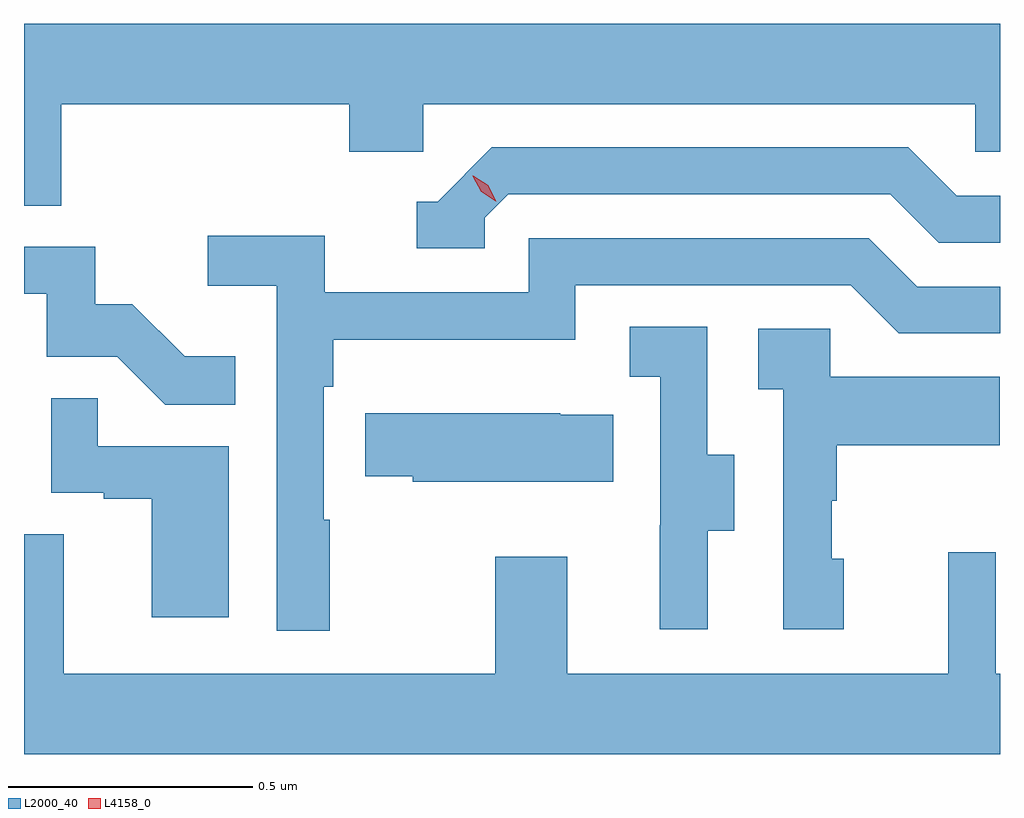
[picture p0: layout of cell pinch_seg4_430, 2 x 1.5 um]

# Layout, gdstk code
import gdstk
lib = gdstk.Library(unit=1e-6, precision=1e-09)
def P(c, l, *ps):  # polygons
    for p in ps: c.add(gdstk.Polygon(p, *l))
L2000_40 = (2000, 40)
L4158_0 = (4158, 0)

pinch_seg4_430 = lib.new_cell('pinch_seg4_430')
P(pinch_seg4_430, L2000_40, [(921.068,786.164),(921.659,786.164),(921.659,786.066),(921.81,786.066),(921.81,786.164),(922.941,786.164),(922.941,786.066),(922.992,786.066),(922.992,786.328),(920.992,786.328),(920.992,785.956),(921.068,785.956)],
  [(921.936,785.931),(921.984,785.979),(922.767,785.979),(922.866,785.88),(922.992,785.88),(922.992,785.976),(922.903,785.976),(922.804,786.075),(921.951,786.075),(921.84,785.964),(921.797,785.964),(921.797,785.868),(921.936,785.868)],
  [(921.619,785.312),(921.606,785.312),(921.606,785.585),(921.626,785.585),(921.626,785.681),(922.122,785.681),(922.122,785.793),(922.686,785.793),(922.785,785.694),(922.992,785.694),(922.992,785.79),(922.822,785.79),(922.723,785.889),(922.026,785.889),(922.026,785.778),(921.608,785.778),(921.608,785.894),(921.369,785.894),(921.369,785.792),(921.51,785.792),(921.51,785.085),(921.619,785.085)],
  [(921.425,785.647),(921.321,785.647),(921.214,785.754),(921.138,785.754),(921.138,785.871),(920.992,785.871),(920.992,785.775),(921.039,785.775),(921.039,785.646),(921.183,785.646),(921.281,785.548),(921.425,785.548)],
  [(922.393,785.29),(922.447,785.29),(922.447,785.445),(922.392,785.445),(922.392,785.708),(922.233,785.708),(922.233,785.605),(922.296,785.605),(922.296,785.301),(922.295,785.301),(922.295,785.088),(922.393,785.088)],
  [(922.672,785.232),(922.647,785.232),(922.647,785.351),(922.657,785.351),(922.657,785.465),(922.991,785.465),(922.991,785.605),(922.644,785.605),(922.644,785.703),(922.497,785.703),(922.497,785.579),(922.548,785.579),(922.548,785.088),(922.672,785.088)],
  [(921.412,785.463),(921.143,785.463),(921.143,785.561),(921.048,785.561),(921.048,785.367),(921.155,785.367),(921.155,785.355),(921.254,785.355),(921.254,785.112),(921.412,785.112)],
  [(922.199,785.527),(922.091,785.527),(922.091,785.53),(921.691,785.53),(921.691,785.401),(921.789,785.401),(921.789,785.39),(922.199,785.39)],
  [(922.992,784.996),(922.983,784.996),(922.983,785.245),(922.886,785.245),(922.886,784.996),(922.105,784.996),(922.105,785.236),(921.958,785.236),(921.958,784.996),(921.073,784.996),(921.073,785.282),(920.992,785.282),(920.992,784.832),(922.992,784.832)])
P(pinch_seg4_430, L4158_0, [(921.959,785.965),(921.929,785.984),(921.912,786.016),(921.912,786.017),(921.913,786.017),(921.943,785.998),(921.96,785.965),(921.96,785.965)])

lib.write_gds('pinch_seg4_430.gds')
